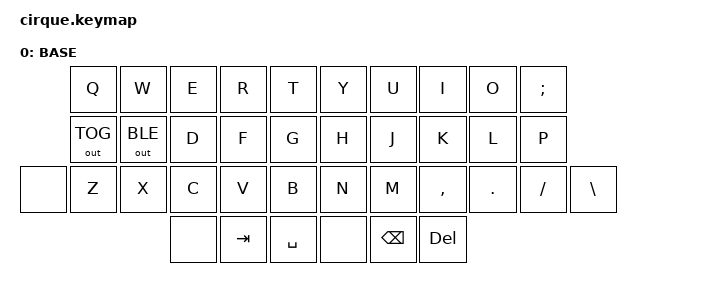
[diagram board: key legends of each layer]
//
//                                                        ▀▀▀▀▀     ▀▀▀▀▀          ▀▀█▀▀
//                                                        ▄▀▀▀▄  ▄  ▄▀▀▀▄  ▄  ▄▀▀▀▄  █  ▄▀▀▀▄
//                                                        █   █  █  █   █  █  █   █  █  █   █
//                                                         ▀▀▀   █   ▀▀▀   █   ▀▀▀   ▀   ▀▀▀
//                                                               █      ▄▄▄█▄▄▄    █   █
//                                                               ▀      █  █  █     █▄█
//                                                             ▀▀▀▀▀    █  █  █      ▀
//                                                                      ▀  ▀  ▀
//
// ▄▄▄▄▄▄▄▄▄▄▄▄▄▄▄▄▄▄▄▄▄▄▄▄▄▄▄▄▄▄▄▄▄▄▄▄▄▄▄▄▄▄▄▄▄▄▄▄▄▄▄▄▄▄▄▄▄▄▄▄▄▄▄▄▄▄▄▄▄▄▄▄▄▄▄▄▄▄▄▄▄▄▄▄▄▄▄▄▄▄▄▄▄▄▄▄▄▄▄▄▄▄▄▄▄▄▄▄▄▄▄▄▄▄▄▄▄▄▄▄▄▄▄▄▄▄▄▄▄▄▄▄▄▄▄▄▄▄▄▄▄▄▄▄▄▄▄▄▄

#include <behaviors.dtsi>
#include <behaviors.dtsi>
#include <behaviors/mouse_keys.dtsi>
#include <behaviors/mouse_key_press.dtsi>
#include <dt-bindings/zmk/bt.h>
#include <dt-bindings/zmk/keys.h>
#include <dt-bindings/zmk/outputs.h>
#include <dt-bindings/zmk/mouse.h>

#define DEF 0
#define LHB 0
#define NUM 0
#define MSK 0
#define MSC 0

&mt {
    quick-tap-ms = <100>;
    global-quick-tap;
    flavor = "tap-preferred";
    tapping-term-ms = <200>;
};

&lt { quick-tap-ms = <180>; };

/ {
//    glidepoint_mmv_ibl {
//            compatible = "zmk,input-behavior-listener";
//            device = <&glidepoint>;
//            layers = <DEF>;
//            // bindings = <&ib_tog_layer MSK>;
//            // bindings = <&ib_fwd_to_hid_io>;
//            y-invert;
//            /* NOTE: do NOT override event code here, */
//            /*       let Cirque glidepoint reports click from taps */
//    // evt-type = <INPUT_EV_REL>;
//        // x-input-code = <INPUT_REL_X>;
//        // y-input-code = <INPUT_REL_Y>;
//    };
////    glidepoint_msl_ibl {
////            compatible = "zmk,input-behavior-listener";
////            device = <&glidepoint>;
////            layers = <MSC>;
////            /* NOTE: only apply input-code overriding for INPUT_EV_REL */
////            evt-type = <INPUT_EV_REL>;
////            x-input-code = <INPUT_REL_MISC>;
////            y-input-code = <INPUT_REL_WHEEL>;
////            bindings = <&ib_wheel_scaler 1 8>;
////    };
//
//    ib_wheel_scaler: ib_wheel_scaler {
//            compatible = "zmk,input-behavior-scaler";
//            #binding-cells = <2>;
//            evt-type = <INPUT_EV_REL>;
//            input-code = <INPUT_REL_WHEEL>;
//    };
    combos {
    };

    macros {
    };

    behaviors {

    };

    keymap {
        compatible = "zmk,keymap";

        // ▄▄▄▄▄▄▄▄▄▄▄▄▄▄▄▄▄▄▄▄▄▄▄▄▄▄▄▄▄▄▄▄▄▄▄▄▄▄▄▄▄▄▄▄▄▄▄▄▄▄▄▄▄▄▄▄▄▄▄▄▄▄▄▄▄▄▄▄▄▄▄▄▄▄▄▄▄▄▄▄▄▄▄▄▄▄▄▄▄▄▄▄▄▄▄▄▄▄▄▄▄▄▄▄▄▄▄▄▄▄▄▄▄▄▄▄▄▄▄▄▄▄▄▄▄▄▄▄▄▄▄▄▄▄▄▄▄▄▄▄▄▄▄▄▄▄▄▄▄

        base_layer {
            label = "BASE";
            bindings = <
             &kp Q  &kp W  &kp E               &kp R      &kp T          &kp Y           &kp U            &kp I         &kp O    &kp SEMICOLON
             &out OUT_TOG  &out OUT_BLE  &kp D               &kp F      &kp G          &kp H           &kp J            &kp K         &kp L    &kp P
&none  &kp Z  &kp X  &kp C               &kp V      &kp B          &kp N           &kp M            &kp COMMA     &kp DOT  &kp FSLH       &kp BSLH
                           &none   &kp TAB  &kp  SPACE    &none   &kp  BACKSPACE  &kp  DELETE
            >;
        };
    };
};
